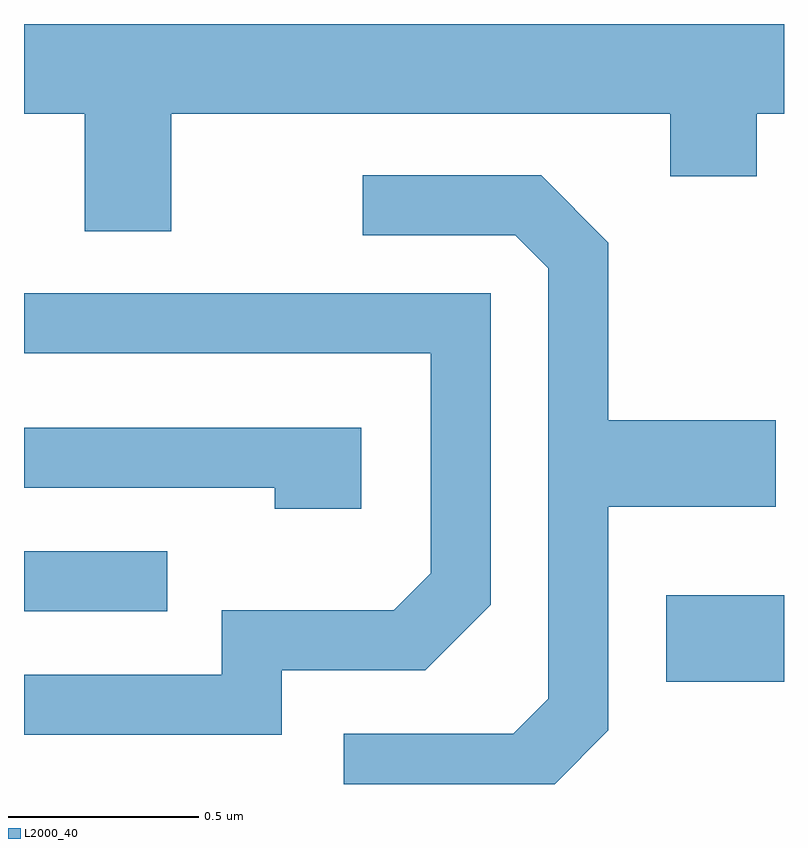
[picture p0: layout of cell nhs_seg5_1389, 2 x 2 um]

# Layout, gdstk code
import gdstk
lib = gdstk.Library(unit=1e-6, precision=1e-09)
def R(c, l, rs):  # rectangles x0, y0, x1, y1
    for r in rs: c.add(gdstk.rectangle(r[:2], r[2:], *l))
def P(c, l, *ps):  # polygons
    for p in ps: c.add(gdstk.Polygon(p, *l))
L2000_40 = (2000, 40)

nhs_seg5_1389 = lib.new_cell('nhs_seg5_1389')
R(nhs_seg5_1389, L2000_40, [(197.301,1415.341,197.611,1415.569), (195.611,1415.526,195.988,1415.684)])
P(nhs_seg5_1389, L2000_40, [(195.999,1416.836),(197.311,1416.836),(197.311,1416.671),(197.539,1416.671),(197.539,1416.836),(197.611,1416.836),(197.611,1417.072),(195.611,1417.072),(195.611,1416.836),(195.771,1416.836),(195.771,1416.526),(195.999,1416.526)],
  [(197.149,1415.214),(197.149,1415.801),(197.589,1415.801),(197.589,1416.029),(197.149,1416.029),(197.149,1416.497),(196.972,1416.674),(196.503,1416.674),(196.503,1416.516),(196.904,1416.516),(196.991,1416.429),(196.991,1415.297),(196.899,1415.204),(196.453,1415.204),(196.453,1415.072),(197.008,1415.072)],
  [(196.289,1415.371),(196.667,1415.371),(196.839,1415.544),(196.839,1416.364),(195.611,1416.364),(195.611,1416.206),(196.681,1416.206),(196.681,1415.627),(196.584,1415.529),(196.131,1415.529),(196.131,1415.359),(195.611,1415.359),(195.611,1415.201),(196.289,1415.201)],
  [(196.499,1416.009),(195.611,1416.009),(195.611,1415.851),(196.271,1415.851),(196.271,1415.796),(196.499,1415.796)])

lib.write_gds('nhs_seg5_1389.gds')
